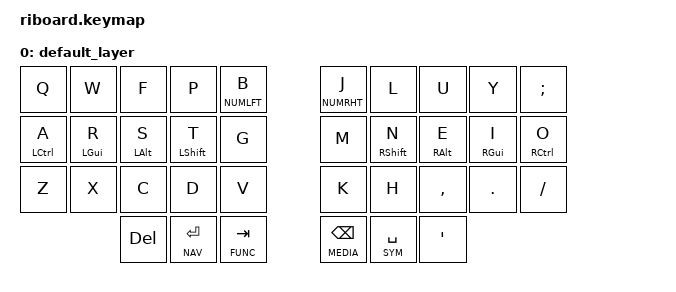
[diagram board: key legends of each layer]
#include <behaviors.dtsi>
#include <dt-bindings/zmk/keys.h>
#include <dt-bindings/zmk/bt.h>
#include <dt-bindings/zmk/ext_power.h>
#include <dt-bindings/zmk/outputs.h>

#define DEFAULT 0
#define NAV     1
#define SYM     2
#define FUNC    3
#define MEDIA   4
#define NUMLFT  5
#define NUMRHT  6

&caps_word {
    continue-list = <UNDERSCORE MINUS>;
};

/ {
    combos {
        compatible = "zmk,combos";
        combo_undo {
            timeout-ms = <50>;
            key-positions = <20 21>;
            bindings = <&kp LC(Z)>;
        };
    };
};

/ {

    behaviors {
        hm: homerow_mods {
            compatible = "zmk,behavior-hold-tap";
            #binding-cells = <2>;
            tapping-term-ms = <200>;
            flavor = "tap-preferred";
            bindings = <&kp>, <&kp>;
        };
        hs: homerow_shift {
            compatible = "zmk,behavior-hold-tap";
            #binding-cells = <2>;
            tapping-term-ms = <175>;
            flavor = "balanced";
            bindings = <&kp>, <&kp>;
        };
    };

    keymap {
        compatible = "zmk,keymap";

        default_layer {
            bindings = <
    &kp Q        &kp W        &kp F       &kp P         &lt NUMLFT B                                &lt NUMRHT J  &kp L        &kp U         &kp Y       &kp SEMI
    &hm LCTL A   &hm LGUI R   &hm LALT S  &hs LSHIFT T  &kp G                                       &kp M         &hs RSHIFT N &hm RALT E    &hm RGUI I  &hm RCTL O
    &kp Z        &kp X        &kp C       &kp D         &kp V                                       &kp K         &kp H        &kp COMMA     &kp DOT     &kp FSLH
                                          &kp DEL       &lt NAV RET  &lt FUNC TAB  &lt MEDIA BSPC   &lt SYM SPACE &kp SQT
            >;
        };
    };
};
